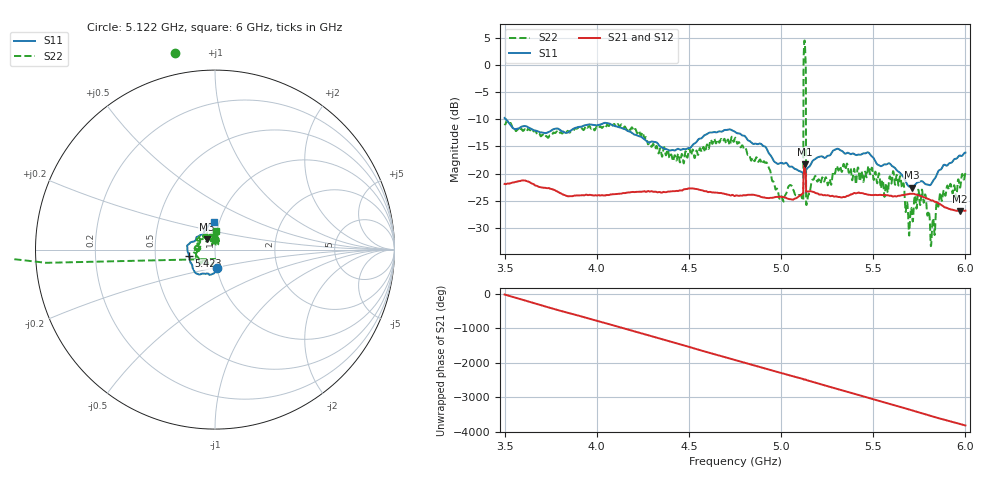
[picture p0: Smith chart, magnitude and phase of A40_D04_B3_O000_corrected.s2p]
! Created with skrf 1.9.0 (http://scikit-rf.org).
# Hz S RI R 50.0
!freq ReS11 ImS11 ReS21 ImS21 ReS12 ImS12 ReS22 ImS22
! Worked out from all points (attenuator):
!   1601 points, 3.5 GHz to 6 GHz, reference 50 ohm
!   highest |S21| = -18.31 dB at 5.128 GHz (marker M1); lowest = -26.9 dB at 5.972 GHz (marker M2)
!   lowest |S11| = -22.6 dB at 5.709 GHz (marker M3), VSWR 1.16, Z = 45.2 + j5.25 ohm
!   |S11| at or under -10 dB: 3.507 GHz to end of sweep
!   |S22| runs from -33.4 to 4.5 dB; largest |S21 - S12| = 0.0011
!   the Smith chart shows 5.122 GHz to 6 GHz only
!   S11 on the Smith chart (normalised r, x): 5.122 GHz: 1.00, -0.20; 5.423 GHz: 0.75, -0.06; 6 GHz: 0.94, +0.30
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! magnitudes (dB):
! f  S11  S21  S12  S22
! 3.5 GHz  -9.8  -21.9  -21.9  -10.8
! 3.917 GHz  -11.4  -24.0  -24.0  -11.7
! 4.334 GHz  -14.6  -23.4  -23.4  -16.3
! 4.75 GHz  -12.3  -24.1  -24.0  -13.5
! 4.919 GHz  -15.2  -24.5  -24.5  -18.0
! 5.002 GHz  -18.0  -24.3  -24.3  -24.1
! 5.108 GHz  -19.7  -23.9  -23.9  -24.0
! 5.122 GHz  -19.9  -20.5  -20.4  1.0
! 5.128 GHz  -19.7  -18.3  -18.3  4.5
! 5.134 GHz  -19.4  -20.3  -20.3  -0.5
! 5.148 GHz  -18.8  -23.3  -23.3  -23.9
! 5.167 GHz  -17.9  -23.3  -23.3  -21.3
! 5.423 GHz  -16.5  -23.5  -23.4  -20.3
! 5.584 GHz  -18.1  -24.1  -24.0  -21.8
! 5.655 GHz  -20.2  -24.0  -23.9  -22.5
! 5.686 GHz  -22.1  -23.8  -23.8  -25.7
! 5.709 GHz  -22.6  -23.7  -23.6  -27.2
! 5.773 GHz  -21.6  -24.4  -24.3  -25.4
! 5.822 GHz  -21.5  -25.0  -24.9  -28.8
! 5.855 GHz  -19.5  -25.5  -25.4  -25.9
! 5.972 GHz  -16.7  -26.9  -26.8  -22.6
! 6 GHz  -16.1  -26.8  -26.8  -19.9
